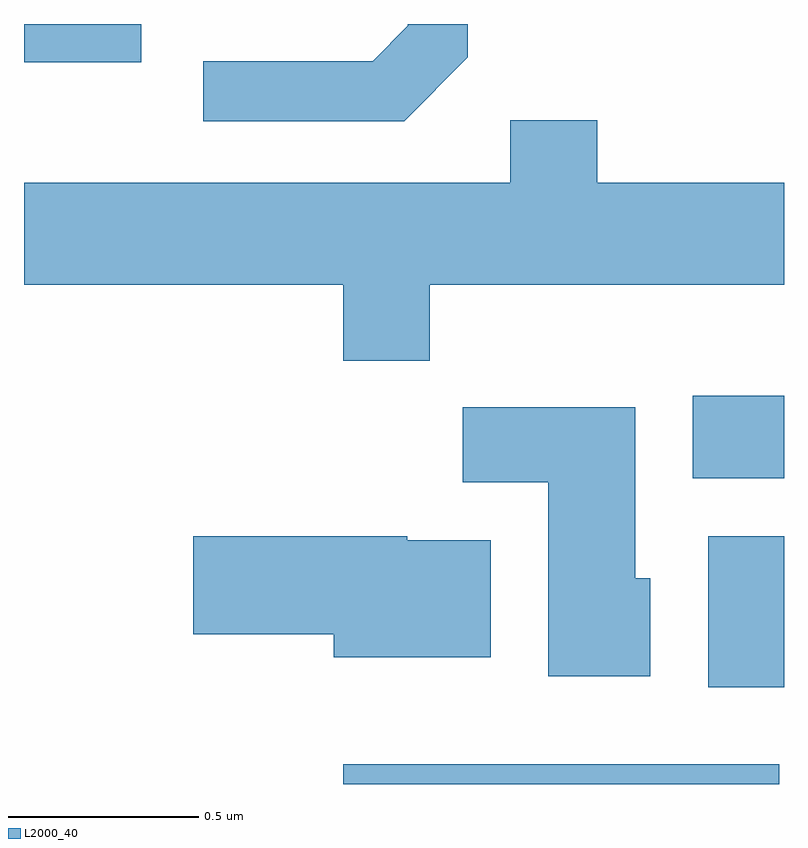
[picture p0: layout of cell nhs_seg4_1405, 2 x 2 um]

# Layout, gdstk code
import gdstk
lib = gdstk.Library(unit=1e-6, precision=1e-09)
def R(c, l, rs):  # rectangles x0, y0, x1, y1
    for r in rs: c.add(gdstk.rectangle(r[:2], r[2:], *l))
def P(c, l, *ps):  # polygons
    for p in ps: c.add(gdstk.Polygon(p, *l))
L2000_40 = (2000, 40)

nhs_seg4_1405 = lib.new_cell('nhs_seg4_1405')
R(nhs_seg4_1405, L2000_40, [(196.451,1288.982,197.599,1289.034), (197.411,1289.236,197.611,1289.634), (197.371,1289.786,197.611,1290.004), (195.611,1290.881,195.919,1290.982)])
P(nhs_seg4_1405, L2000_40, [(196.779,1290.894),(196.779,1290.982),(196.621,1290.982),(196.621,1290.977),(196.529,1290.884),(196.083,1290.884),(196.083,1290.726),(196.612,1290.726)],
  [(196.679,1290.296),(197.611,1290.296),(197.611,1290.564),(197.119,1290.564),(197.119,1290.729),(196.891,1290.729),(196.891,1290.564),(195.611,1290.564),(195.611,1290.296),(196.451,1290.296),(196.451,1290.096),(196.679,1290.096)],
  [(197.259,1289.524),(197.219,1289.524),(197.219,1289.974),(196.766,1289.974),(196.766,1289.776),(196.991,1289.776),(196.991,1289.266),(197.259,1289.266)],
  [(196.839,1289.624),(196.62,1289.624),(196.62,1289.634),(196.056,1289.634),(196.056,1289.376),(196.426,1289.376),(196.426,1289.316),(196.839,1289.316)])

lib.write_gds('nhs_seg4_1405.gds')
